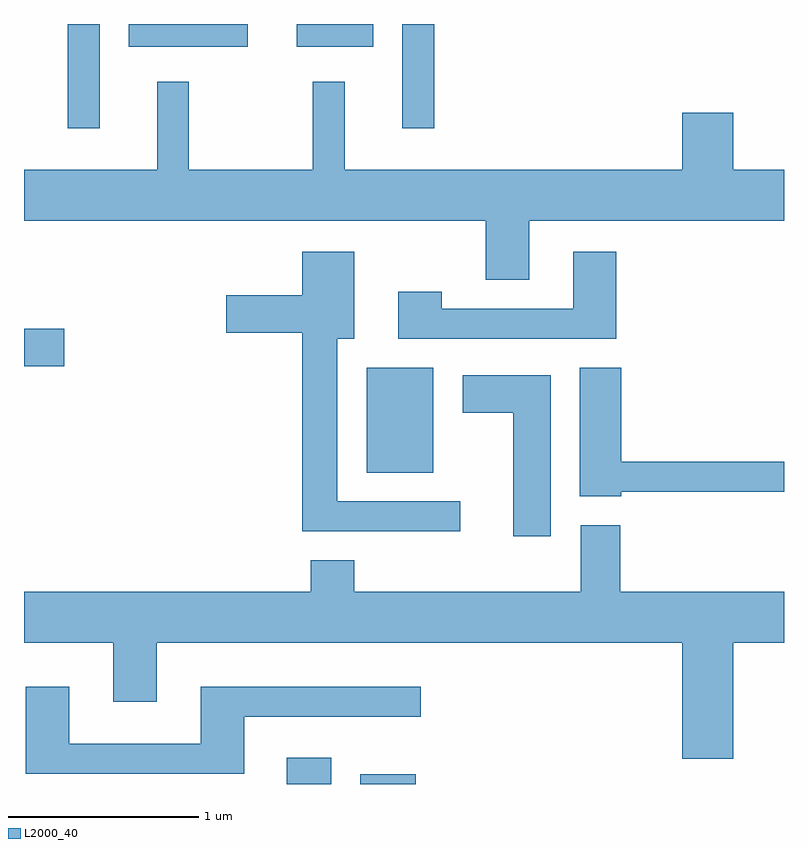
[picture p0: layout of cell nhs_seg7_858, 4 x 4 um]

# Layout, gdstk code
import gdstk
lib = gdstk.Library(unit=1e-6, precision=1e-09)
def R(c, l, rs):  # rectangles x0, y0, x1, y1
    for r in rs: c.add(gdstk.rectangle(r[:2], r[2:], *l))
def P(c, l, *ps):  # polygons
    for p in ps: c.add(gdstk.Polygon(p, *l))
L2000_40 = (2000, 40)

nhs_seg7_858 = lib.new_cell('nhs_seg7_858')
R(nhs_seg7_858, L2000_40, [(212.993,1700.252,213.229,1700.389), (213.381,1700.252,213.674,1700.304), (213.416,1701.891,213.764,1702.444), (211.611,1702.451,211.824,1702.649), (211.841,1703.703,212.009,1704.252), (213.601,1703.703,213.769,1704.252), (212.161,1704.131,212.789,1704.252), (213.046,1704.131,213.449,1704.252)])
P(nhs_seg7_858, L2000_40, [(214.269,1703.216),(215.611,1703.216),(215.611,1703.484),(215.344,1703.484),(215.344,1703.784),(215.076,1703.784),(215.076,1703.484),(213.299,1703.484),(213.299,1703.948),(213.131,1703.948),(213.131,1703.484),(212.479,1703.484),(212.479,1703.948),(212.311,1703.948),(212.311,1703.484),(211.611,1703.484),(211.611,1703.216),(214.041,1703.216),(214.041,1702.906),(214.269,1702.906)],
  [(213.908,1701.739),(213.259,1701.739),(213.259,1702.596),(213.349,1702.596),(213.349,1703.054),(213.076,1703.054),(213.076,1702.824),(212.676,1702.824),(212.676,1702.626),(213.076,1702.626),(213.076,1701.581),(213.908,1701.581)],
  [(214.729,1703.054),(214.501,1703.054),(214.501,1702.754),(213.809,1702.754),(213.809,1702.844),(213.581,1702.844),(213.581,1702.596),(214.729,1702.596)],
  [(214.754,1701.791),(215.611,1701.791),(215.611,1701.949),(214.754,1701.949),(214.754,1702.444),(214.536,1702.444),(214.536,1701.766),(214.754,1701.766)],
  [(214.384,1702.404),(213.921,1702.404),(213.921,1702.206),(214.186,1702.206),(214.186,1701.556),(214.384,1701.556)],
  [(215.344,1700.996),(215.611,1700.996),(215.611,1701.264),(214.749,1701.264),(214.749,1701.614),(214.541,1701.614),(214.541,1701.264),(213.349,1701.264),(213.349,1701.429),(213.121,1701.429),(213.121,1701.264),(211.611,1701.264),(211.611,1700.996),(212.081,1700.996),(212.081,1700.686),(212.309,1700.686),(212.309,1700.996),(215.076,1700.996),(215.076,1700.386),(215.344,1700.386)],
  [(212.769,1700.606),(213.698,1700.606),(213.698,1700.764),(212.541,1700.764),(212.541,1700.464),(211.849,1700.464),(211.849,1700.764),(211.621,1700.764),(211.621,1700.306),(212.769,1700.306)])

lib.write_gds('nhs_seg7_858.gds')
